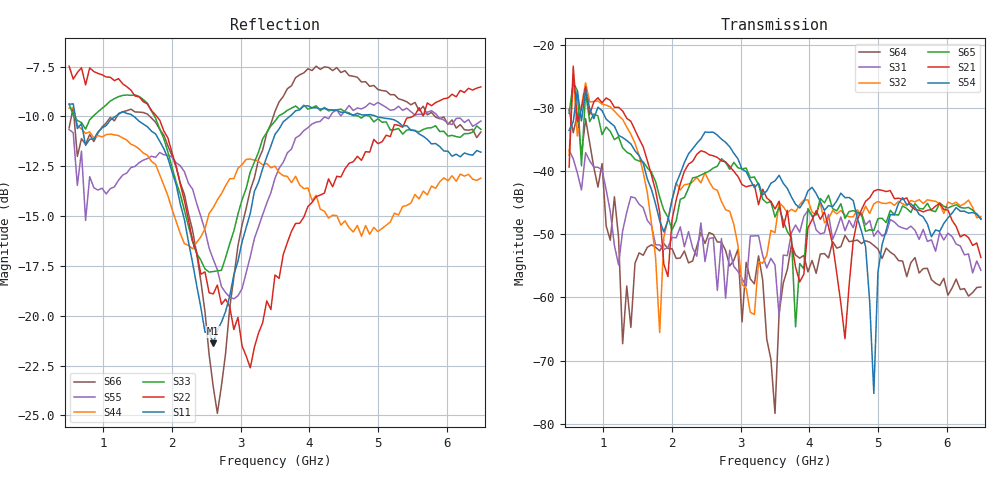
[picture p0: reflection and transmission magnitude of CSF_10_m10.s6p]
!Keysight Technologies,M9804A,MY58100912,A.14.10.03
!Date: Thursday, April 27, 2023 10:28:33
!Correction: S11(C  6-Port  )
!S12(C  6-Port  )
!S13(C  6-Port  )
!S14(C  6-Port  )
!S15(C  6-Port  )
!S16(C  6-Port  )
!S21(C  6-Port  )
!S22(C  6-Port  )
!S23(C  6-Port  )
!S24(C  6-Port  )
!S25(C  6-Port  )
!S26(C  6-Port  )
!S31(C  6-Port  )
!S32(C  6-Port  )
!S33(C  6-Port  )
!S34(C  6-Port  )
!S35(C  6-Port  )
!S36(C  6-Port  )
!S41(C  6-Port  )
!S42(C  6-Port  )
!S43(C  6-Port  )
!S44(C  6-Port  )
!S45(C  6-Port  )
!S46(C  6-Port  )
!S51(C  6-Port  )
!S52(C  6-Port  )
!S53(C  6-Port  )
!S54(C  6-Port  )
!S55(C  6-Port  )
!S56(C  6-Port  )
!S61(C  6-Port  )
!S62(C  6-Port  )
!S63(C  6-Port  )
!S64(C  6-Port  )
!S65(C  6-Port  )
!S66(C  6-Port  )
!S6P File: Measurement: :
# Hz S  RI  R 50
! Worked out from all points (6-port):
!   101 points, 500 MHz to 6.5 GHz, reference 50 ohm
!   strongest paths, dB at 500 MHz, 2 GHz, 3.5 GHz, 5 GHz, 6.5 GHz:
!     S54: -33.6, -44.6, -41.6, -56.0, -47.7
!     S21: -39.4, -47.7, -46.0, -42.9, -53.7
!     S65: -30.9, -49.3, -47.3, -47.5, -47.5
!     S32: -37.5, -44.6, -49.8, -44.8, -47.2
!     S31: -36.7, -50.5, -54.9, -49.4, -55.7
!     S64: -30.3, -52.3, -78.4, -52.3, -58.4
!   lowest |S11| = -21.4 dB at 2.6 GHz (marker M1), VSWR 1.19, Z = 42.4 + j2.14 ohm
!   |S11| at or under -10 dB: 590.4 MHz to 1.174 GHz (584 MHz wide, 66.2 % of centre); 1.441 GHz to 3.716 GHz (2.275 GHz wide, 88.2 % of centre); 4.974 GHz to end of sweep
